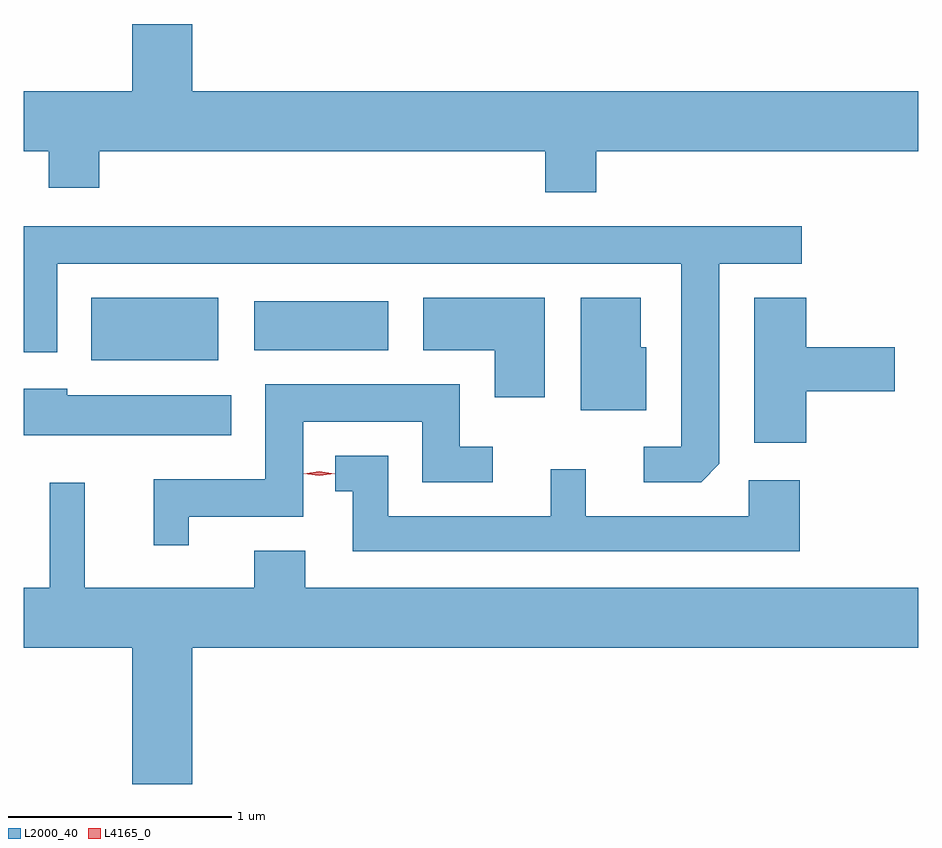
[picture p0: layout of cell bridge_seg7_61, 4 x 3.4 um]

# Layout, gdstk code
import gdstk
lib = gdstk.Library(unit=1e-6, precision=1e-09)
def R(c, l, rs):  # rectangles x0, y0, x1, y1
    for r in rs: c.add(gdstk.rectangle(r[:2], r[2:], *l))
def P(c, l, *ps):  # polygons
    for p in ps: c.add(gdstk.Polygon(p, *l))
L2000_40 = (2000, 40)
L4165_0 = (4165, 0)

bridge_seg7_61 = lib.new_cell('bridge_seg7_61')
R(bridge_seg7_61, L2000_40, [(1613.491,1804.401,1614.059,1804.679), (1614.221,1804.446,1614.819,1804.664)])
P(bridge_seg7_61, L2000_40, [(1615.749,1805.336),(1617.19,1805.336),(1617.19,1805.604),(1613.944,1805.604),(1613.944,1805.904),(1613.676,1805.904),(1613.676,1805.604),(1613.19,1805.604),(1613.19,1805.336),(1613.301,1805.336),(1613.301,1805.171),(1613.529,1805.171),(1613.529,1805.336),(1615.521,1805.336),(1615.521,1805.151),(1615.749,1805.151)],
  [(1616.299,1803.937),(1616.299,1804.831),(1616.668,1804.831),(1616.668,1804.999),(1613.19,1804.999),(1613.19,1804.436),(1613.339,1804.436),(1613.339,1804.831),(1616.131,1804.831),(1616.131,1804.014),(1615.963,1804.014),(1615.963,1803.856),(1616.219,1803.856)],
  [(1615.519,1804.679),(1614.976,1804.679),(1614.976,1804.446),(1615.296,1804.446),(1615.296,1804.236),(1615.519,1804.236)],
  [(1616.689,1804.261),(1617.084,1804.261),(1617.084,1804.459),(1616.689,1804.459),(1616.689,1804.679),(1616.456,1804.679),(1616.456,1804.031),(1616.689,1804.031)],
  [(1615.974,1804.459),(1615.949,1804.459),(1615.949,1804.679),(1615.681,1804.679),(1615.681,1804.176),(1615.974,1804.176)],
  [(1613.929,1803.701),(1614.439,1803.701),(1614.439,1804.126),(1614.971,1804.126),(1614.971,1803.856),(1615.288,1803.856),(1615.288,1804.014),(1615.139,1804.014),(1615.139,1804.294),(1614.271,1804.294),(1614.271,1803.869),(1613.771,1803.869),(1613.771,1803.573),(1613.929,1803.573)],
  [(1614.119,1804.244),(1613.384,1804.244),(1613.384,1804.274),(1613.19,1804.274),(1613.19,1804.066),(1614.119,1804.066)],
  [(1616.659,1803.864),(1616.431,1803.864),(1616.431,1803.704),(1615.704,1803.704),(1615.704,1803.913),(1615.546,1803.913),(1615.546,1803.704),(1614.819,1803.704),(1614.819,1803.974),(1614.583,1803.974),(1614.583,1803.816),(1614.661,1803.816),(1614.661,1803.546),(1616.659,1803.546)],
  [(1613.944,1803.116),(1617.19,1803.116),(1617.19,1803.384),(1614.449,1803.384),(1614.449,1803.549),(1614.221,1803.549),(1614.221,1803.384),(1613.464,1803.384),(1613.464,1803.853),(1613.306,1803.853),(1613.306,1803.384),(1613.19,1803.384),(1613.19,1803.116),(1613.676,1803.116),(1613.676,1802.506),(1613.944,1802.506)])
P(bridge_seg7_61, L4165_0, [(1614.512,1803.884),(1614.442,1803.893),(1614.442,1803.894),(1614.442,1803.894),(1614.512,1803.904),(1614.581,1803.894),(1614.581,1803.894),(1614.581,1803.893)])

lib.write_gds('bridge_seg7_61.gds')
